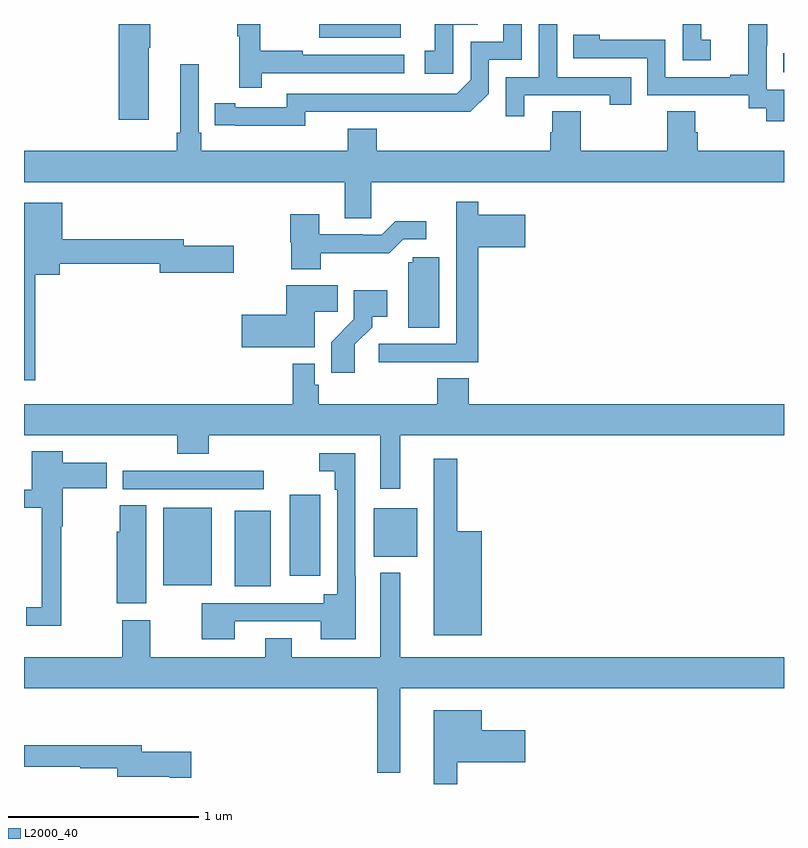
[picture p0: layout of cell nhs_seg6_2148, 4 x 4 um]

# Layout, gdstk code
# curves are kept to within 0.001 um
import gdstk
lib = gdstk.Library(unit=1e-6, precision=1e-09)
def R(c, l, rs):  # rectangles x0, y0, x1, y1
    for r in rs: c.add(gdstk.rectangle(r[:2], r[2:], *l))
def P(c, l, *ps):  # polygons
    for p in ps: c.add(gdstk.Polygon(p, *l))
L2000_40 = (2000, 40)

nhs_seg6_2148 = lib.new_cell('nhs_seg6_2148')
R(nhs_seg6_2148, L2000_40, [(240.11,946.541,240.298,946.939), (239.732,946.547,239.989,946.954), (240.398,946.596,240.559,947.023), (240.842,946.697,241.069,946.951), (239.521,947.052,240.262,947.148), (242.995,949.245,243,949.346), (240.555,949.427,240.982,949.5)])
P(nhs_seg6_2148, L2000_40, [(241.26,949.497),(241.389,949.497),(241.389,949.5),(241.163,949.5),(241.163,949.359),(241.11,949.359),(241.11,949.239),(241.26,949.239)],
  [(242.614,949.417),(242.565,949.417),(242.565,949.5),(242.466,949.5),(242.466,949.308),(242.614,949.308)],
  [(241.633,949.125),(242.084,949.125),(242.084,949.074),(242.195,949.074),(242.195,949.221),(241.806,949.221),(241.806,949.5),(241.71,949.5),(241.71,949.221),(241.536,949.221),(241.536,949.014),(241.633,949.014)],
  [(243,949.155),(242.91,949.155),(242.91,949.385),(242.912,949.385),(242.912,949.5),(242.813,949.5),(242.813,949.234),(242.717,949.234),(242.717,949.221),(242.376,949.221),(242.376,949.416),(242.031,949.416),(242.031,949.443),(241.891,949.443),(241.891,949.32),(242.28,949.32),(242.28,949.125),(242.814,949.125),(242.814,949.057),(242.907,949.057),(242.907,948.987),(243,948.987)],
  [(239.656,949.375),(239.664,949.375),(239.664,949.5),(239.498,949.5),(239.498,948.996),(239.656,948.996)],
  [(240.48,949.038),(241.348,949.037),(241.446,949.134),(241.446,949.311),(241.62,949.311),(241.62,949.5),(241.523,949.5),(241.523,949.407),(241.35,949.407),(241.35,949.206),(241.278,949.134),(240.384,949.134),(240.384,949.062),(240.112,949.062),(240.112,949.082),(240.004,949.082),(240.004,948.966),(240.48,948.965)],
  [(240.251,949.242),(241,949.242),(241,949.338),(240.467,949.338),(240.467,949.358),(240.244,949.358),(240.244,949.5),(240.123,949.5),(240.123,949.435),(240.134,949.435),(240.134,949.164),(240.251,949.164)],
  [(240.828,948.668),(243,948.668),(243,948.832),(242.546,948.832),(242.546,948.93),(242.533,948.93),(242.533,949.04),(242.386,949.04),(242.386,948.832),(241.929,948.832),(241.929,949.04),(241.781,949.04),(241.781,948.93),(241.769,948.93),(241.769,948.832),(240.857,948.832),(240.857,948.949),(240.704,948.949),(240.704,948.832),(239.933,948.832),(239.933,948.928),(239.919,948.928),(239.919,949.288),(239.822,949.288),(239.822,948.928),(239.803,948.928),(239.803,948.832),(239,948.832),(239,948.668),(240.689,948.668),(240.689,948.478),(240.828,948.478)],
  [(241.091,947.721),(241.391,947.721),(241.391,948.326),(241.639,948.326),(241.639,948.496),(241.391,948.496),(241.391,948.565),(241.274,948.565),(241.274,948.342),(241.275,948.342),(241.275,947.817),(240.867,947.817),(240.867,947.719),(241.091,947.719)],
  [(239.059,948.179),(239.188,948.179),(239.188,948.238),(239.714,948.238),(239.714,948.191),(240.103,948.191),(240.103,948.333),(239.842,948.333),(239.842,948.367),(239.201,948.367),(239.201,948.559),(239,948.559),(239,947.625),(239.059,947.625)],
  [(240.561,948.294),(240.923,948.293),(240.996,948.366),(241.117,948.366),(241.117,948.463),(240.955,948.463),(240.882,948.39),(240.782,948.39),(240.782,948.393),(240.553,948.393),(240.553,948.499),(240.401,948.499),(240.401,948.351),(240.406,948.351),(240.406,948.209),(240.561,948.209)],
  [(241.186,948.273),(241.047,948.273),(241.047,948.246),(241.022,948.246),(241.022,947.902),(241.186,947.902)],
  [(240.529,947.986),(240.65,947.986),(240.65,948.124),(240.38,948.124),(240.38,947.969),(240.147,947.969),(240.147,947.798),(240.529,947.798)],
  [(240.742,947.815),(240.832,947.905),(240.832,947.96),(240.913,947.96),(240.913,948.1),(240.735,948.1),(240.735,947.945),(240.616,947.826),(240.616,947.664),(240.742,947.664)],
  [(240.979,947.336),(243,947.336),(243,947.5),(241.34,947.5),(241.34,947.636),(241.175,947.636),(241.175,947.5),(240.551,947.5),(240.551,947.601),(240.531,947.601),(240.531,947.713),(240.415,947.713),(240.415,947.5),(239,947.5),(239,947.336),(239.807,947.336),(239.807,947.237),(239.972,947.237),(239.972,947.336),(240.875,947.336),(240.875,947.055),(240.979,947.055)],
  [(239.195,946.856),(239.203,946.856),(239.203,947.057),(239.436,947.057),(239.436,947.191),(239.204,947.191),(239.204,947.251),(239.042,947.251),(239.042,947.049),(239,947.049),(239,946.953),(239.094,946.953),(239.094,946.431),(239.013,946.431),(239.013,946.334),(239.195,946.334)],
  [(240.109,946.356),(240.563,946.356),(240.563,946.262),(240.745,946.262),(240.745,946.594),(240.744,946.594),(240.744,947.241),(240.555,947.241),(240.555,947.145),(240.636,947.145),(240.636,947.048),(240.648,947.048),(240.648,946.498),(240.578,946.498),(240.578,946.452),(239.936,946.452),(239.936,946.262),(240.109,946.262)],
  [(241.408,946.831),(241.279,946.831),(241.279,947.212),(241.157,947.212),(241.157,946.283),(241.408,946.283)],
  [(239.644,946.967),(239.503,946.967),(239.503,946.827),(239.489,946.827),(239.489,946.451),(239.644,946.451)],
  [(240.979,946.004),(243,946.004),(243,946.168),(240.979,946.168),(240.979,946.612),(240.875,946.612),(240.875,946.168),(240.409,946.168),(240.409,946.267),(240.269,946.267),(240.269,946.168),(239.665,946.168),(239.665,946.363),(239.518,946.363),(239.518,946.168),(239,946.168),(239,946.004),(240.858,946.004),(240.858,945.56),(240.979,945.56)],
  [(241.279,945.614),(241.639,945.614),(241.639,945.784),(241.408,945.784),(241.408,945.889),(241.157,945.889),(241.157,945.5),(241.279,945.5)],
  [(239.881,945.669),(239.62,945.669),(239.62,945.703),(239,945.703),(239,945.592),(239.296,945.592),(239.296,945.582),(239.492,945.582),(239.492,945.539),(239.768,945.539),(239.768,945.532),(239.881,945.532)])

lib.write_gds('nhs_seg6_2148.gds')
